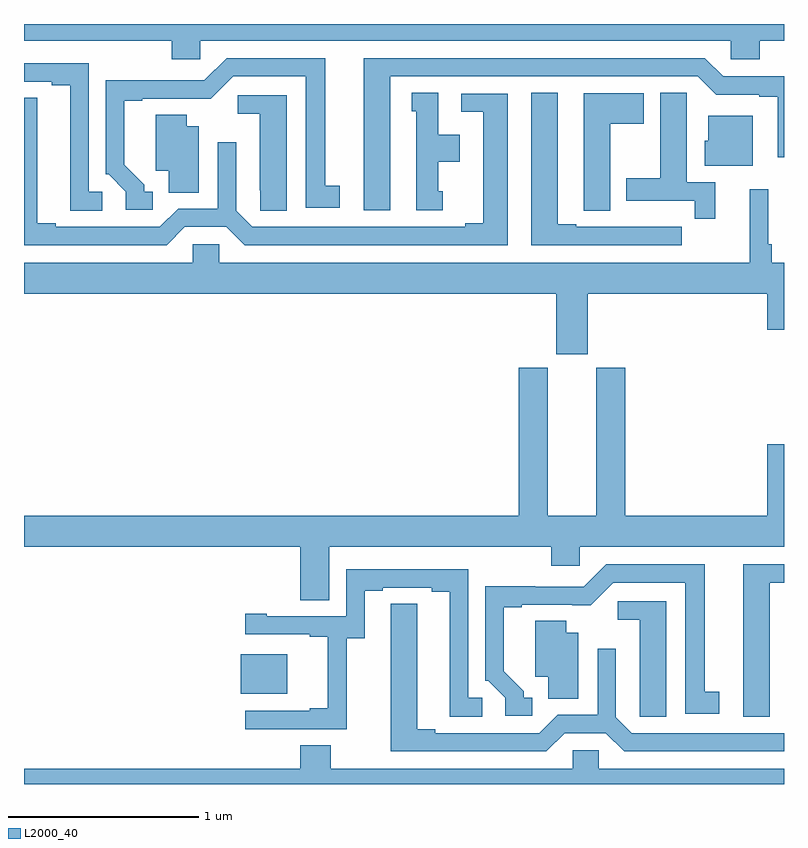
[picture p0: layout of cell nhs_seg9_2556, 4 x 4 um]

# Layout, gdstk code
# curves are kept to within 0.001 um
import gdstk
lib = gdstk.Library(unit=1e-6, precision=1e-09)
def R(c, l, rs):  # rectangles x0, y0, x1, y1
    for r in rs: c.add(gdstk.rectangle(r[:2], r[2:], *l))
def P(c, l, *ps):  # polygons
    for p in ps: c.add(gdstk.Polygon(p, *l))
L2000_40 = (2000, 40)

nhs_seg9_2556 = lib.new_cell('nhs_seg9_2556')
R(nhs_seg9_2556, L2000_40, [(258.14,1200.974,258.385,1201.183)])
P(nhs_seg9_2556, L2000_40, [(257.928,1204.412),(260.721,1204.412),(260.721,1204.314),(260.873,1204.314),(260.873,1204.412),(261,1204.412),(261,1204.5),(257,1204.5),(257,1204.412),(257.777,1204.412),(257.777,1204.314),(257.928,1204.314)],
  [(257.677,1203.618),(257.632,1203.618),(257.632,1203.653),(257.527,1203.758),(257.527,1204.095),(257.623,1204.095),(257.623,1204.107),(257.984,1204.106),(258.102,1204.224),(258.482,1204.224),(258.482,1203.534),(258.661,1203.534),(258.661,1203.65),(258.586,1203.65),(258.586,1204.32),(258.066,1204.32),(257.949,1204.203),(257.693,1204.203),(257.693,1204.205),(257.43,1204.205),(257.43,1203.708),(257.445,1203.708),(257.535,1203.618),(257.535,1203.522),(257.677,1203.522)],
  [(258.928,1204.224),(260.547,1204.224),(260.643,1204.128),(260.87,1204.128),(260.87,1204.116),(260.966,1204.116),(260.966,1203.798),(261,1203.798),(261,1204.224),(260.679,1204.224),(260.583,1204.32),(258.788,1204.32),(258.788,1203.519),(258.928,1203.519)],
  [(257.413,1203.618),(257.34,1203.618),(257.34,1204.293),(257,1204.293),(257,1204.197),(257.147,1204.197),(257.147,1204.177),(257.243,1204.177),(257.243,1203.517),(257.413,1203.517)],
  [(260.639,1203.666),(260.488,1203.666),(260.488,1204.028),(260.487,1204.028),(260.487,1204.139),(260.348,1204.139),(260.348,1203.687),(260.171,1203.687),(260.171,1203.57),(260.53,1203.57),(260.53,1203.474),(260.639,1203.474)],
  [(259.204,1203.621),(259.18,1203.621),(259.18,1203.776),(259.294,1203.776),(259.294,1203.916),(259.18,1203.916),(259.18,1204.139),(259.04,1204.139),(259.04,1204.041),(259.064,1204.041),(259.064,1203.519),(259.204,1203.519)],
  [(260.461,1203.432),(260.348,1203.432),(260.348,1203.433),(260.182,1203.433),(260.182,1203.432),(259.906,1203.432),(259.906,1203.447),(259.81,1203.447),(259.81,1204.139),(259.67,1204.139),(259.67,1203.336),(260.461,1203.336)],
  [(260.086,1203.976),(260.263,1203.976),(260.263,1204.135),(259.946,1204.135),(259.946,1203.625),(259.947,1203.625),(259.947,1203.517),(260.086,1203.517)],
  [(257.847,1203.432),(258.065,1203.432),(258.161,1203.336),(259.546,1203.336),(259.546,1204.134),(259.302,1204.134),(259.302,1204.038),(259.418,1204.038),(259.418,1203.452),(259.322,1203.452),(259.322,1203.432),(258.201,1203.432),(258.117,1203.516),(258.117,1203.877),(258.021,1203.877),(258.021,1203.528),(257.811,1203.528),(257.715,1203.432),(257.167,1203.432),(257.167,1203.452),(257.071,1203.452),(257.071,1204.112),(257,1204.112),(257,1203.336),(257.751,1203.336)],
  [(258.382,1204.125),(258.126,1204.125),(258.126,1204.028),(258.242,1204.028),(258.242,1203.625),(258.243,1203.625),(258.243,1203.517),(258.382,1203.517)],
  [(257.92,1203.961),(257.857,1203.961),(257.857,1204.022),(257.693,1204.022),(257.693,1203.728),(257.762,1203.728),(257.762,1203.613),(257.92,1203.613)],
  [(260.836,1204.018),(260.6,1204.018),(260.6,1203.885),(260.582,1203.885),(260.582,1203.755),(260.836,1203.755)],
  [(259.966,1203.08),(260.912,1203.08),(260.912,1202.892),(261,1202.892),(261,1203.244),(260.936,1203.244),(260.936,1203.34),(260.916,1203.34),(260.916,1203.631),(260.819,1203.631),(260.819,1203.244),(258.027,1203.244),(258.027,1203.342),(257.889,1203.342),(257.889,1203.244),(257,1203.244),(257,1203.08),(259.802,1203.08),(259.802,1202.763),(259.966,1202.763)],
  [(258.607,1201.748),(259.775,1201.748),(259.775,1201.65),(259.926,1201.65),(259.926,1201.748),(261,1201.748),(261,1202.287),(260.912,1202.287),(260.912,1201.912),(260.165,1201.912),(260.165,1202.691),(260.012,1202.691),(260.012,1201.912),(259.756,1201.912),(259.756,1202.691),(259.604,1202.691),(259.604,1201.912),(257,1201.912),(257,1201.748),(258.455,1201.748),(258.455,1201.468),(258.607,1201.468)],
  [(260.926,1201.56),(261,1201.56),(261,1201.656),(260.786,1201.656),(260.786,1200.855),(260.926,1200.855)],
  [(259.675,1200.954),(259.63,1200.954),(259.63,1200.989),(259.525,1201.094),(259.525,1201.431),(259.621,1201.431),(259.621,1201.443),(259.982,1201.442),(260.1,1201.56),(260.48,1201.56),(260.48,1200.87),(260.659,1200.87),(260.659,1200.986),(260.584,1200.986),(260.584,1201.656),(260.064,1201.656),(259.947,1201.539),(259.691,1201.539),(259.691,1201.541),(259.428,1201.541),(259.428,1201.044),(259.443,1201.044),(259.533,1200.954),(259.533,1200.858),(259.675,1200.858)],
  [(258.699,1201.267),(258.793,1201.267),(258.793,1201.518),(258.889,1201.518),(258.889,1201.533),(259.145,1201.533),(259.145,1201.513),(259.241,1201.513),(259.241,1200.853),(259.411,1200.853),(259.411,1200.954),(259.338,1200.954),(259.338,1201.629),(258.696,1201.629),(258.696,1201.383),(258.277,1201.383),(258.277,1201.396),(258.165,1201.396),(258.165,1201.287),(258.503,1201.287),(258.503,1201.275),(258.599,1201.275),(258.599,1200.898),(258.503,1200.898),(258.503,1200.885),(258.165,1200.885),(258.165,1200.789),(258.699,1200.789)],
  [(260.38,1201.461),(260.124,1201.461),(260.124,1201.364),(260.24,1201.364),(260.24,1200.961),(260.241,1200.961),(260.241,1200.853),(260.38,1200.853)],
  [(259.845,1200.768),(260.063,1200.768),(260.159,1200.672),(261,1200.672),(261,1200.768),(260.199,1200.768),(260.115,1200.852),(260.115,1201.213),(260.019,1201.213),(260.019,1200.864),(259.809,1200.864),(259.713,1200.768),(259.165,1200.768),(259.165,1200.788),(259.069,1200.788),(259.069,1201.448),(258.93,1201.448),(258.929,1200.672),(259.749,1200.672)],
  [(259.918,1201.297),(259.855,1201.297),(259.855,1201.358),(259.691,1201.358),(259.691,1201.064),(259.76,1201.064),(259.76,1200.949),(259.918,1200.949)],
  [(261,1200.58),(260.025,1200.58),(260.025,1200.678),(259.887,1200.678),(259.887,1200.58),(258.615,1200.58),(258.615,1200.704),(258.455,1200.704),(258.455,1200.58),(257,1200.58),(257,1200.5),(261,1200.5)])

lib.write_gds('nhs_seg9_2556.gds')
